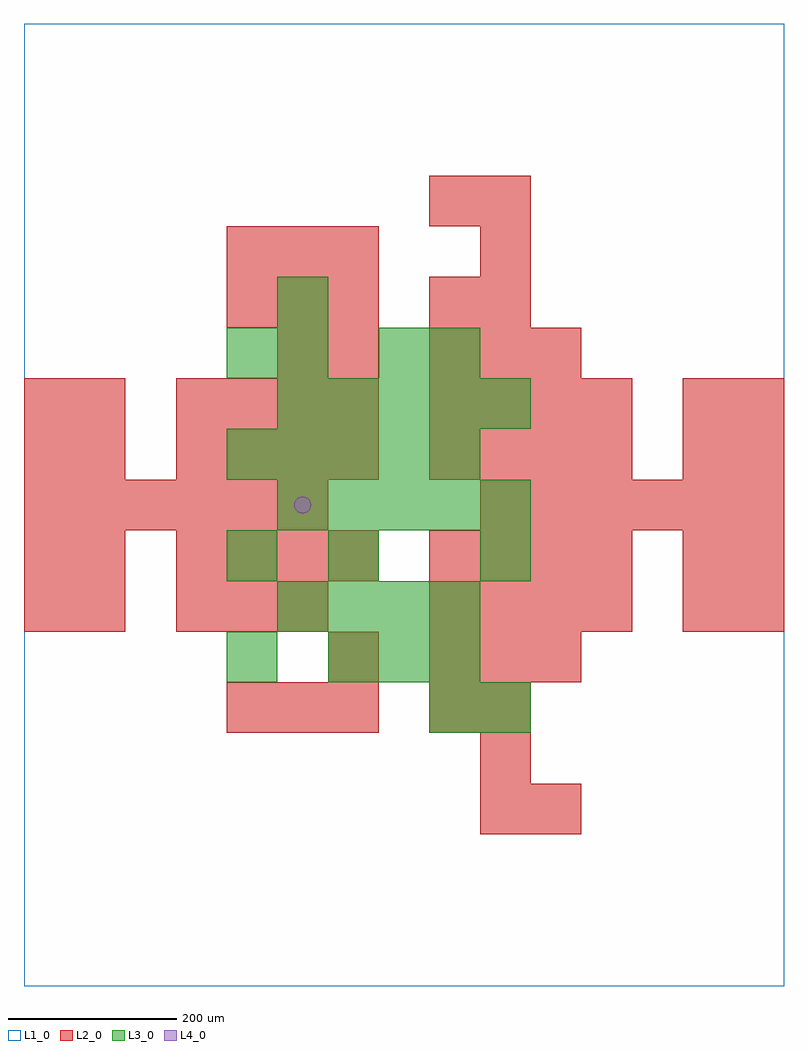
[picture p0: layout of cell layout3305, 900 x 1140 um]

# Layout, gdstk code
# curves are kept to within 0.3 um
import gdstk
lib = gdstk.Library(unit=1e-6, precision=1e-09)
def R(c, l, rs):  # rectangles x0, y0, x1, y1
    for r in rs: c.add(gdstk.rectangle(r[:2], r[2:], *l))
def A(c, l, x, y, w, h, nx, ny, dx, dy):  # array of equal rectangles
    R(c, l, [(x+i*dx, y+j*dy, x+i*dx+w, y+j*dy+h) for i in range(nx) for j in range(ny)])
def P(c, l, *ps):  # polygons
    for p in ps: c.add(gdstk.Polygon(p, *l))
L1_0 = (1, 0)
L2_0 = (2, 0)
L3_0 = (3, 0)
L4_0 = (4, 0)

layout3305 = lib.new_cell('layout3305')
R(layout3305, L1_0, [(0,0,900,1140)])
A(layout3305, L2_0, 540, 180, 60, 60, 1, 3, 0, 60)
A(layout3305, L2_0, 240, 300, 60, 60, 3, 2, 60, 480)
A(layout3305, L2_0, 480, 360, 60, 60, 3, 2, 60, 360)
A(layout3305, L2_0, 180, 420, 60, 60, 3, 1, 60, 0)
A(layout3305, L2_0, 480, 420, 60, 60, 4, 2, 60, 60)
A(layout3305, L2_0, 180, 480, 60, 60, 4, 2, 60, 120)
A(layout3305, L2_0, 0, 540, 60, 60, 6, 1, 60, 0)
A(layout3305, L2_0, 540, 540, 60, 60, 6, 1, 60, 0)
A(layout3305, L2_0, 480, 600, 60, 60, 4, 2, 60, 60)
A(layout3305, L2_0, 180, 660, 60, 60, 4, 1, 60, 0)
A(layout3305, L2_0, 540, 780, 60, 60, 1, 3, 0, 60)
A(layout3305, L2_0, 240, 840, 60, 60, 3, 1, 60, 0)
R(layout3305, L2_0, [(600,180,660,240), (480,300,540,360), (360,360,420,420), (0,420,60,480), (60,420,120,480), (780,420,840,480), (840,420,900,480), (0,480,60,540), (60,480,120,540), (780,480,840,540), (840,480,900,540), (0,600,60,660), (60,600,120,660), (780,600,840,660), (840,600,900,660), (0,660,60,720), (60,660,120,720), (780,660,840,720), (840,660,900,720), (300,720,360,780), (360,720,420,780), (480,780,540,840), (480,900,540,960)])
A(layout3305, L3_0, 360, 360, 60, 60, 3, 1, 60, 0)
A(layout3305, L3_0, 300, 420, 60, 60, 4, 1, 60, 0)
A(layout3305, L3_0, 300, 540, 60, 60, 5, 2, 60, 120)
A(layout3305, L3_0, 240, 600, 60, 60, 5, 1, 60, 0)
R(layout3305, L3_0, [(480,300,540,360), (540,300,600,360), (240,360,300,420), (240,480,300,540), (360,480,420,540), (540,480,600,540), (240,720,300,780), (300,720,360,780), (420,720,480,780), (480,720,540,780), (300,780,360,840)])
P(layout3305, L4_0, [(340,570),(339.239,573.827),(337.071,577.071),(333.827,579.239),(330,580),(326.173,579.239),(322.929,577.071),(320.761,573.827),(320,570),(320.761,566.173),(322.929,562.929),(326.173,560.761),(330,560),(333.827,560.761),(337.071,562.929),(339.239,566.173)])

lib.write_gds('layout3305.gds')
